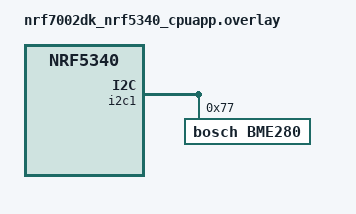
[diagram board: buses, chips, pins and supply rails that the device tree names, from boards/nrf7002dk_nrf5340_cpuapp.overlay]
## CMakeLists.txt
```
cmake_minimum_required(VERSION 3.20.0)

# # Force CMake to use the NCS-provided Python (has required deps like pykwalify)
# if(DEFINED ENV{ZEPHYR_PYTHON_EXECUTABLE})
#   set(Python3_EXECUTABLE $ENV{ZEPHYR_PYTHON_EXECUTABLE}
#       CACHE FILEPATH "Python interpreter for Zephyr" FORCE)
# endif()

# # Keep Zephyr's user cache inside the project tree (avoids write issues outside sandbox)
# if(NOT DEFINED USER_CACHE_DIR)
#   set(USER_CACHE_DIR "${CMAKE_CURRENT_SOURCE_DIR}/.cache"
#       CACHE PATH "Local Zephyr user cache" FORCE)
#   file(MAKE_DIRECTORY "${USER_CACHE_DIR}/ToolchainCapabilityDatabase")
# endif()

find_package(Zephyr REQUIRED HINTS $ENV{ZEPHYR_BASE})
project(ble_nus)

target_sources(app PRIVATE
  src/main.c
  src/ble_nus.c
)


target_include_directories(app PRIVATE include)
```

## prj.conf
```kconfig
# ===== Bluetooth =====
CONFIG_BT=y
CONFIG_BT_PERIPHERAL=y
CONFIG_BT_ZEPHYR_NUS=y
CONFIG_BT_SETTINGS=y        # if you use settings_load()

# Make sure settings are stored in flash (NVS backend)
CONFIG_FLASH=y
CONFIG_NVS=y
CONFIG_SETTINGS=y
CONFIG_SETTINGS_NVS=y
CONFIG_SETTINGS_NONE=n
CONFIG_FLASH_MAP=y

# ===== I2C sensor =====
CONFIG_I2C=y
CONFIG_SENSOR=y



# ========== 输出日志功能 ==========
CONFIG_PRINTK=y
CONFIG_LOG=y
CONFIG_LOG_DEFAULT_LEVEL=3

# Use newlib to avoid picolibc lock conflicts on this toolchain
CONFIG_NEWLIB_LIBC=y
CONFIG_PICOLIBC=n

CONFIG_NEWLIB_LIBC_FLOAT_PRINTF=y
CONFIG_CBPRINTF_FP_SUPPORT=y


# 增加 MTU 尺寸
CONFIG_BT_BUF_ACL_TX_SIZE=251
CONFIG_BT_L2CAP_TX_MTU=247

# 增加发送缓存数量
CONFIG_BT_BUF_ACL_TX_COUNT=10
CONFIG_BT_BUF_EVT_RX_COUNT=12
```

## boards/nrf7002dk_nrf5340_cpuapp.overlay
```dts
&i2c1 {
    status = "okay";

    bosch_bme280: bme280@77 {
        compatible = "bosch,bme280";
        reg = <0x77>;     
        label = "BME280";
    };
};

&pinctrl {
	/omit-if-no-ref/ i2c1_default: i2c1_default {
		group1  {
			psels = <NRF_PSEL(TWIM_SCL, 1, 14)>,
					<NRF_PSEL(TWIM_SDA, 1, 15)>;
		};
	};
	/omit-if-no-ref/ i2c1_sleep: i2c1_sleep {
		group1  {
			psels = <NRF_PSEL(TWIM_SCL, 1, 14)>,
					<NRF_PSEL(TWIM_SDA, 1, 15)>;
			low-power-enable;
				};
	};
};
```

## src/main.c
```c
#include "ble_nus.h"

#include <zephyr/kernel.h>
#include <zephyr/logging/log.h>
#include <zephyr/sys/printk.h>

LOG_MODULE_REGISTER(app, LOG_LEVEL_INF);

/* Simple application handler: print whatever comes from the phone */
static void app_rx_handler(const uint8_t *data, size_t len) {
  LOG_INF("APP RX: %u bytes", (unsigned int)len);

  /* Print as ASCII to the RTT/UART console */
  for (size_t i = 0; i < len; i++) {
    printk("%c", data[i]);
  }
  printk("\r\n");
}

int main(void) {
  int err = ble_nus_run(app_rx_handler);

  if (err) {
    LOG_ERR("ble_nus_run failed (err %d)", err);
    return err;
  }

  /* Nothing else to do; all work happens in callbacks */
  while (1) {
    k_sleep(K_SECONDS(1));
  }

  return 0;
}
```

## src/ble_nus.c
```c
/* ble_nus.c - Minimal Nordic UART Service helper for nRF7002DK (CPUAPP) */

#include "ble_nus.h"

#include <zephyr/kernel.h>
#include <zephyr/logging/log.h>
#include <zephyr/settings/settings.h>
#include <zephyr/sys/printk.h>
#include <zephyr/sys/util.h>

#include <zephyr/bluetooth/bluetooth.h>
#include <zephyr/bluetooth/conn.h>
#include <zephyr/bluetooth/gap.h>
#include <zephyr/bluetooth/hci.h>
#include <zephyr/bluetooth/services/nus.h>
#include <bluetooth/services/mds.h>

/* Version-portable advertising parameters for NUS */
#if defined(BT_LE_ADV_CONN)
/* Older Zephyr / NCS (your local SDK) */
#define NUS_ADV_PARAMS BT_LE_ADV_CONN

#elif defined(BT_LE_ADV_CONN_FAST_1)
/* Zephyr 4.3.x in the GitHub Actions container */
#define NUS_ADV_PARAMS BT_LE_ADV_CONN_FAST_1

#else
/* Fallback: explicit param using options that *do* exist */
#define NUS_ADV_PARAMS                                                         \
  BT_LE_ADV_PARAM(BT_LE_ADV_OPT_CONN, BT_GAP_ADV_FAST_INT_MIN_2,               \
                  BT_GAP_ADV_FAST_INT_MAX_2, NULL)
#endif

LOG_MODULE_REGISTER(ble_nus, LOG_LEVEL_INF);

#define DEVICE_NAME CONFIG_BT_DEVICE_NAME
#define DEVICE_NAME_LEN (sizeof(DEVICE_NAME) - 1)

static bool ready = false;

static void notif_enabled(bool enabled, void *ctx) {
  ready = enabled;
  LOG_INF("Notifications %s", enabled ? "enabled" : "disabled");
}

bool ble_nus_ready(void) { return ready; }

/* Advertising payload:
 *  - General discoverable, no BR/EDR
 *  - 128-bit UUID for NUS
 */
static const struct bt_data ad[] = {
    BT_DATA_BYTES(BT_DATA_FLAGS, (BT_LE_AD_GENERAL | BT_LE_AD_NO_BREDR)),
    BT_DATA_BYTES(BT_DATA_UUID128_ALL, BT_UUID_NUS_SRV_VAL),
    
};

static const struct bt_data sd[] = {
    BT_DATA(BT_DATA_NAME_COMPLETE, DEVICE_NAME, DEVICE_NAME_LEN),
    BT_DATA_BYTES(BT_DATA_UUID128_ALL, BT_UUID_MDS_VAL),
};

/* Application-level RX handler that we call from the NUS callback */
static ble_nus_rx_handler_t app_rx_handler;

/* Connection callbacks just for logging */
static void connected(struct bt_conn *conn, uint8_t err) {
  if (err) {
    LOG_ERR("Connection failed (err %u)", err);
  } else {
    LOG_INF("BLE connected");
  }
}

static void disconnected(struct bt_conn *conn, uint8_t reason) {
  LOG_INF("BLE disconnected (reason 0x%02x)", reason);
}

BT_CONN_CB_DEFINE(conn_callbacks) = {
    .connected = connected,
    .disconnected = disconnected,
};

/* NUS RX callback
 * NOTE: signature must match struct bt_nus_cb in this NCS version:
 *   void (*received)(struct bt_conn *, const void *, uint16_t, void *)
 */
static void nus_received(struct bt_conn *conn, const void *data, uint16_t len,
                         void *user_data) {
  const uint8_t *bytes = data;

  LOG_INF("NUS received %u bytes", len);

  if (app_rx_handler) {
    app_rx_handler(bytes, len);
  }
}

/* Register our receive callback with the NUS service.
 * In this NCS/Zephyr version the callbacks are registered via
 * bt_nus_cb_register(), NOT bt_nus_init().
 */
static struct bt_nus_cb nus_cb = {
    .received = nus_received,
    .notif_enabled = notif_enabled,
};

int ble_nus_run(ble_nus_rx_handler_t handler) {
  int err;

  LOG_INF("Initializing BLE NUS");

  app_rx_handler = handler;

  /* First bring up the Bluetooth stack */
  err = bt_enable(NULL);
  if (err) {
    LOG_ERR("bt_enable failed (err %d)", err);
    return err;
  }

  LOG_INF("Bluetooth enabled");

  /* Load persisted identities/CCC settings so the controller gets an ID addr */
  if (IS_ENABLED(CONFIG_SETTINGS)) {
    err = settings_load();
    if (err) {
      LOG_ERR("settings_load failed (err %d)", err);
      return err;
    }
  }

  /* Wire our nus_received() into the NUS service */
  err = bt_nus_cb_register(&nus_cb, NULL);
  if (err) {
    LOG_ERR("bt_nus_cb_register failed (err %d)", err);
    return err;
  }

  LOG_INF("NUS callbacks registered");

  /* Start advertising */
  err = bt_le_adv_start(NUS_ADV_PARAMS, ad, ARRAY_SIZE(ad), sd, ARRAY_SIZE(sd));
  if (err) {
    LOG_ERR("Advertising failed to start (err %d)", err);
    return err;
  }

  LOG_INF("Advertising as \"%s\" with NUS", DEVICE_NAME);

  return 0;
}
```

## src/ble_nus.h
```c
#ifndef BLE_NUS_H_
#define BLE_NUS_H_

#include <stddef.h>
#include <stdint.h>

#ifdef __cplusplus
extern "C" {
#endif

/* Application-level callback type for received NUS data */
typedef void (*ble_nus_rx_handler_t)(const uint8_t *data, size_t len);

/* Start BLE + NUS and begin advertising.
 *
 * 'handler' is called whenever a NUS RX packet is received from the phone.
 * Returns 0 on success, negative errno on failure.
 */
int ble_nus_run(ble_nus_rx_handler_t handler);

#ifdef __cplusplus
}
#endif

#endif /* BLE_NUS_H_ */
```
